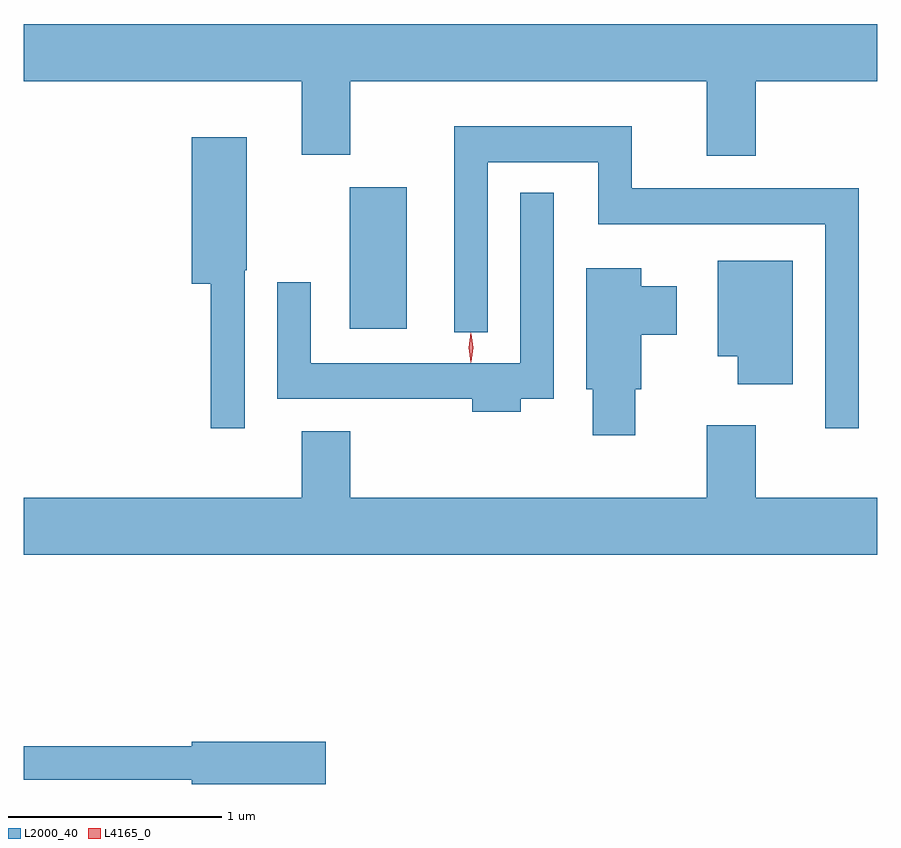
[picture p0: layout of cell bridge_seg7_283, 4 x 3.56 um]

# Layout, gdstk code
import gdstk
lib = gdstk.Library(unit=1e-6, precision=1e-09)
def R(c, l, rs):  # rectangles x0, y0, x1, y1
    for r in rs: c.add(gdstk.rectangle(r[:2], r[2:], *l))
def P(c, l, *ps):  # polygons
    for p in ps: c.add(gdstk.Polygon(p, *l))
L2000_40 = (2000, 40)
L4165_0 = (4165, 0)

bridge_seg7_283 = lib.new_cell('bridge_seg7_283')
R(bridge_seg7_283, L2000_40, [(1339.326,1784.196,1339.594,1784.859)])
P(bridge_seg7_283, L2000_40, [(1341.229,1785.356),(1341.799,1785.356),(1341.799,1785.624),(1337.799,1785.624),(1337.799,1785.356),(1339.101,1785.356),(1339.101,1785.011),(1339.329,1785.011),(1339.329,1785.356),(1341.001,1785.356),(1341.001,1785.006),(1341.229,1785.006)],
  [(1341.714,1784.854),(1340.649,1784.854),(1340.649,1785.144),(1339.816,1785.144),(1339.816,1784.178),(1339.974,1784.178),(1339.974,1784.976),(1340.491,1784.976),(1340.491,1784.686),(1341.556,1784.686),(1341.556,1783.728),(1341.714,1783.728)],
  [(1338.834,1784.47),(1338.844,1784.47),(1338.844,1785.094),(1338.586,1785.094),(1338.586,1784.406),(1338.676,1784.406),(1338.676,1783.728),(1338.834,1783.728)],
  [(1340.129,1783.866),(1340.284,1783.866),(1340.284,1784.833),(1340.126,1784.833),(1340.126,1784.034),(1339.144,1784.034),(1339.144,1784.413),(1338.986,1784.413),(1338.986,1783.866),(1339.901,1783.866),(1339.901,1783.806),(1340.129,1783.806)],
  [(1341.404,1784.514),(1341.051,1784.514),(1341.051,1784.066),(1341.146,1784.066),(1341.146,1783.936),(1341.404,1783.936)],
  [(1340.664,1783.911),(1340.694,1783.911),(1340.694,1784.166),(1340.859,1784.166),(1340.859,1784.394),(1340.694,1784.394),(1340.694,1784.479),(1340.436,1784.479),(1340.436,1783.911),(1340.466,1783.911),(1340.466,1783.696),(1340.664,1783.696)],
  [(1341.799,1783.404),(1341.229,1783.404),(1341.229,1783.744),(1341.001,1783.744),(1341.001,1783.404),(1339.329,1783.404),(1339.329,1783.714),(1339.101,1783.714),(1339.101,1783.404),(1337.799,1783.404),(1337.799,1783.136),(1341.799,1783.136)],
  [(1339.214,1782.259),(1338.586,1782.259),(1338.586,1782.239),(1337.799,1782.239),(1337.799,1782.081),(1338.586,1782.081),(1338.586,1782.061),(1339.214,1782.061)])
P(bridge_seg7_283, L4165_0, [(1339.895,1784.037),(1339.894,1784.038),(1339.885,1784.106),(1339.894,1784.176),(1339.895,1784.176),(1339.895,1784.176),(1339.905,1784.106),(1339.895,1784.038)],
  [(1339.895,1784.04),(1339.885,1784.106),(1339.894,1784.172),(1339.895,1784.173),(1339.896,1784.172),(1339.905,1784.106),(1339.896,1784.04),(1339.896,1784.04)])

lib.write_gds('bridge_seg7_283.gds')
